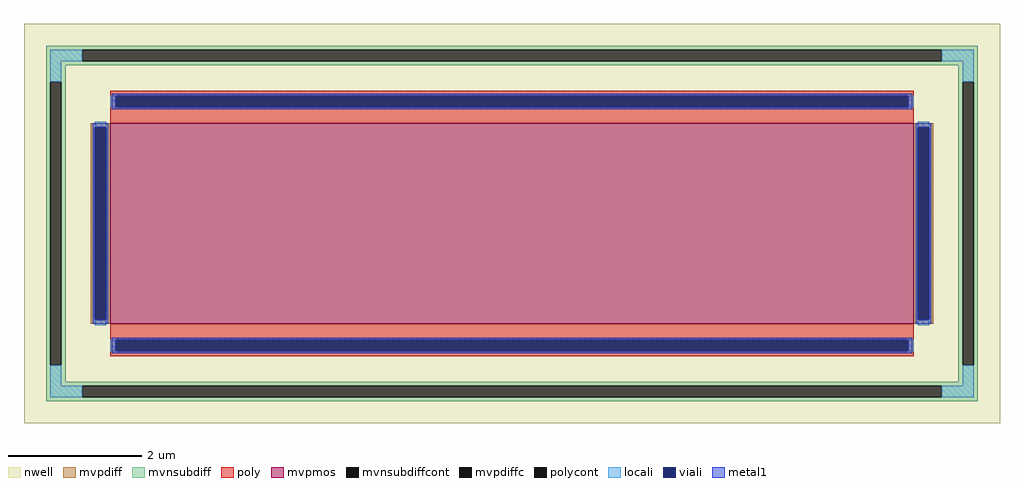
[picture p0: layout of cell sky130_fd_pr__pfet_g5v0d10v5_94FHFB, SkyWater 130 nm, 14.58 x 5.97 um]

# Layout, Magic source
magic
tech sky130A
magscale 1 2
<< nwell >>
rect -1458 -597 1458 597
<< mvpmos >>
rect -1200 -300 1200 300
<< mvpdiff >>
rect -1258 288 -1200 300
rect -1258 -288 -1246 288
rect -1212 -288 -1200 288
rect -1258 -300 -1200 -288
rect 1200 288 1258 300
rect 1200 -288 1212 288
rect 1246 -288 1258 288
rect 1200 -300 1258 -288
<< mvpdiffc >>
rect -1246 -288 -1212 288
rect 1212 -288 1246 288
<< mvnsubdiff >>
rect -1392 519 1392 531
rect -1392 485 -1284 519
rect 1284 485 1392 519
rect -1392 473 1392 485
rect -1392 423 -1334 473
rect -1392 -423 -1380 423
rect -1346 -423 -1334 423
rect 1334 423 1392 473
rect -1392 -473 -1334 -423
rect 1334 -423 1346 423
rect 1380 -423 1392 423
rect 1334 -473 1392 -423
rect -1392 -485 1392 -473
rect -1392 -519 -1284 -485
rect 1284 -519 1392 -485
rect -1392 -531 1392 -519
<< mvnsubdiffcont >>
rect -1284 485 1284 519
rect -1380 -423 -1346 423
rect 1346 -423 1380 423
rect -1284 -519 1284 -485
<< poly >>
rect -1200 381 1200 397
rect -1200 347 -1184 381
rect 1184 347 1200 381
rect -1200 300 1200 347
rect -1200 -347 1200 -300
rect -1200 -381 -1184 -347
rect 1184 -381 1200 -347
rect -1200 -397 1200 -381
<< polycont >>
rect -1184 347 1184 381
rect -1184 -381 1184 -347
<< locali >>
rect -1380 485 -1284 519
rect 1284 485 1380 519
rect -1380 423 -1346 485
rect 1346 423 1380 485
rect -1200 347 -1184 381
rect 1184 347 1200 381
rect -1246 288 -1212 304
rect -1246 -304 -1212 -288
rect 1212 288 1246 304
rect 1212 -304 1246 -288
rect -1200 -381 -1184 -347
rect 1184 -381 1200 -347
rect -1380 -485 -1346 -423
rect 1346 -485 1380 -423
rect -1380 -519 -1284 -485
rect 1284 -519 1380 -485
<< viali >>
rect -1184 347 1184 381
rect -1246 -288 -1212 288
rect 1212 -288 1246 288
rect -1184 -381 1184 -347
<< metal1 >>
rect -1196 381 1196 387
rect -1196 347 -1184 381
rect 1184 347 1196 381
rect -1196 341 1196 347
rect -1252 288 -1206 300
rect -1252 -288 -1246 288
rect -1212 -288 -1206 288
rect -1252 -300 -1206 -288
rect 1206 288 1252 300
rect 1206 -288 1212 288
rect 1246 -288 1252 288
rect 1206 -300 1252 -288
rect -1196 -347 1196 -341
rect -1196 -381 -1184 -347
rect 1184 -381 1196 -347
rect -1196 -387 1196 -381
<< properties >>
string FIXED_BBOX -1363 -502 1363 502
string gencell sky130_fd_pr__pfet_g5v0d10v5
string library sky130
string parameters w 3 l 12 m 1 nf 1 diffcov 100 polycov 100 guard 1 glc 1 grc 1 gtc 1 gbc 1 tbcov 100 rlcov 100 topc 1 botc 1 poverlap 0 doverlap 1 lmin 0.50 wmin 0.42 compatible {sky130_fd_pr__pfet_01v8  sky130_fd_pr__pfet_01v8_lvt sky130_fd_pr__pfet_01v8_hvt  sky130_fd_pr__pfet_g5v0d10v5} full_metal 1 viasrc 100 viadrn 100 viagate 100 viagb 0 viagr 0 viagl 0 viagt 0
<< end >>
